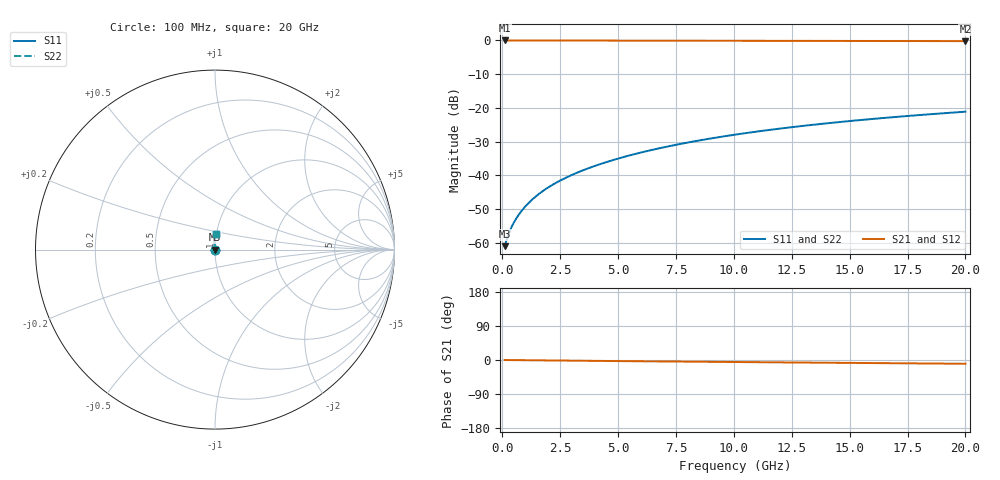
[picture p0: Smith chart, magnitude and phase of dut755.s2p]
! Touchstone file exported from HFSS 2024.1.0
!  File:  C:/UserFiles/LocalFiles/RDL_TSV_Batchsim/temp_RDL_bottom_755_1779859936.aedt
!  Generated:  01:34:40 PM May 27, 2026
!  Design:  RDL_bottom
!  Project:  temp_RDL_bottom_755_1779859936
!  Setup:  Setup1
!  Solution:  Sweep
! Variables:
!  dtsv = 10.80580581um
!  hbump = 3um
!  htsv = 67.49um
!  ldown = 140.48um
!  lrdl = 100um
!  p = 40
!  p1 = 41.44um
!  rhole = 1um
!  t = 450um
!  tdown = 3.48um
!  trdl = 3.915915916um
!  wdown = 26.78um
!  wrdl = 20um
# GHz S MA R 50.000000
! Terminal data exported
! Port[1] = RDL1_T1
! Port[2] = RDL1_T2
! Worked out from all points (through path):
!   200 points, 100 MHz to 20 GHz, reference 50 ohm
!   highest |S21| = -0.01 dB at 100 MHz (marker M1); lowest = -0.2 dB at 20 GHz (marker M2)
!   group delay of S21, straight-line fit = 1.36 ps
!   lowest |S11| = -61.0 dB at 100 MHz (marker M3), VSWR 1.00, Z = 50.1 + j0.0403 ohm
!   |S11| at or under -10 dB: start of sweep to end of sweep
!   |S22| runs from -61.0 to -21.1 dB; largest |S21 - S12| = 3.5e-15
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0.1  0.0008868 27.0  0.9992 -0.1  0.9992 -0.1  0.0008868 27.0
! Gamma 0 0 0 0
! Port Impedance 50 0 50 0
0.2  0.001142 42.7  0.9991 -0.1  0.9991 -0.1  0.001142 42.7
0.3  0.001424 51.5  0.9991 -0.2  0.9991 -0.2  0.001424 51.5
0.4  0.001706 57.4  0.999 -0.2  0.999 -0.2  0.001706 57.4
0.5  0.001988 61.8  0.999 -0.3  0.999 -0.3  0.001988 61.8
0.6  0.002273 65.4  0.9989 -0.4  0.9989 -0.4  0.002273 65.4
0.8  0.002856 70.7  0.9988 -0.5  0.9988 -0.5  0.002856 70.7
1  0.003457 74.6  0.9988 -0.6  0.9988 -0.6  0.003457 74.6
1.2  0.004074 77.6  0.9987 -0.7  0.9987 -0.7  0.004074 77.6
1.7  0.005666 82.6  0.9984 -1.0  0.9984 -1.0  0.005666 82.6
2.2  0.00732 85.8  0.998 -1.3  0.998 -1.3  0.00732 85.8
2.8  0.009381 88.5  0.9974 -1.6  0.9974 -1.6  0.009381 88.5
3.5  0.01189 90.7  0.9966 -2.0  0.9966 -2.0  0.01189 90.7
4.2  0.01452 92.2  0.9958 -2.4  0.9958 -2.4  0.01452 92.2
5  0.01766 93.5  0.9947 -2.8  0.9947 -2.8  0.01766 93.5
6.8  0.02521 94.7  0.9921 -3.8  0.9921 -3.8  0.02521 94.7
8.4  0.03236 94.8  0.9897 -4.6  0.9897 -4.6  0.03236 94.8
10.1  0.04025 94.3  0.9874 -5.4  0.9874 -5.4  0.04025 94.3
11.7  0.04784 93.5  0.9854 -6.1  0.9854 -6.1  0.04784 93.5
13.4  0.05599 92.4  0.9834 -6.9  0.9834 -6.9  0.056 92.4
16.7  0.07188 90.1  0.9799 -8.4  0.9799 -8.4  0.07188 90.1
20  0.08768 87.8  0.9768 -9.9  0.9768 -9.9  0.08768 87.8
